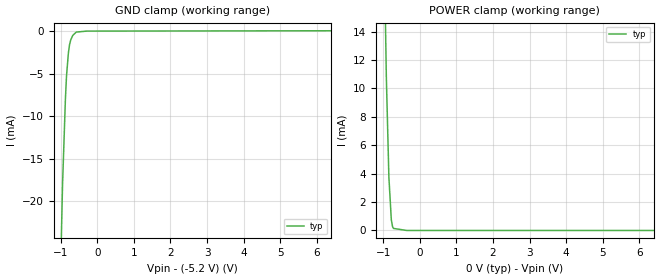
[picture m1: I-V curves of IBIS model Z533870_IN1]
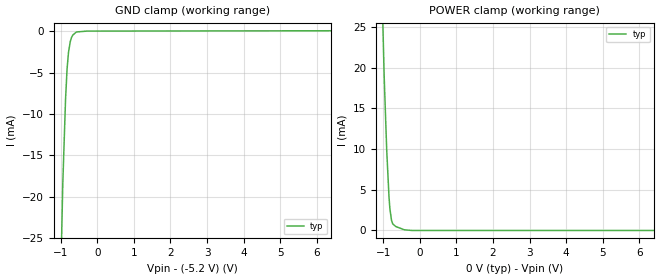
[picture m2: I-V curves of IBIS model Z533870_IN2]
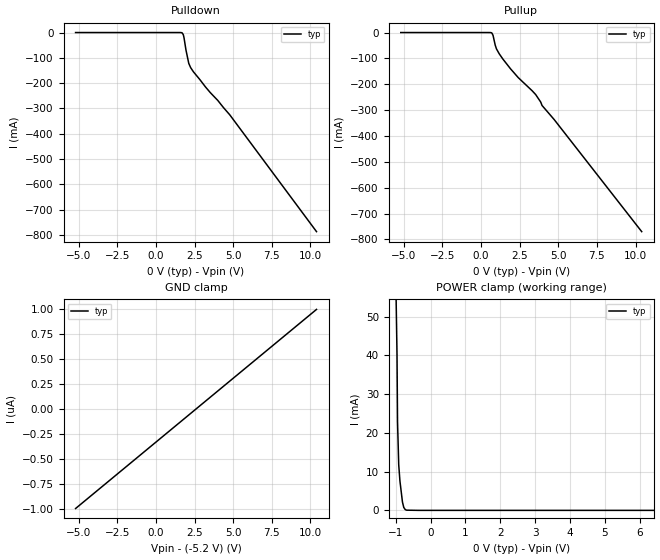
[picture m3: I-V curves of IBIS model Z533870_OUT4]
| YOU ARE ONLY AUTHORIZED TO USE THIS SOFTWARE
| ACCORDING TO LICENSOR'S LICENSE RESTRICTIONS.
[IBIS Ver] 3.1
[File Name] mc100el35d.ibs
[File Rev] 0.2
[Source] Derived from mc100el35d.ibs Measured and created by ICX Technology
[Date] Thursday 10/30/01
[Copyright]
| (C) COPYRIGHT 1993-2000
| MENTOR GRAPHICS CORPORATION
| ICX STANDARD LIBRARY, ICX PROJECT MODELING,
| ICX CUSTOM MODELING, ICX VENDOR MODEL
| ALL RIGHTS RESERVED.
| THE FOLLOWING ARE TRADEMARKS OR SERVICE MARKS OF
| MENTOR GRAPHICS CORPORATION:ICX (R), ICX STANDARD
| LIBRARY(R), ICX PROJECT MODELING(R), ICX CUSTOM
| MODELING(R), qualityIBIS(TM), MODELVIEWER(TM),
| AND MODELEDITOR(TM)
| ALL COPIES OF SOFTWARE, INCLUDING BUT NOT LIMITED TO
| ANY MODIFICATIONS, ENHANCEMENTS OR DERIVATIVE WORKS,
| MUST CONTAIN ALL MENTOR GRAPHICS CORPORATION'S
| NOTICES AND LEGENDS, INCLUDING THOSE EMBEDDED IN
| SOFTWARE AND THOSE AFFIXED TO SOFTWARE MEDIUM
| AND CONTAINER, AS RECEIVED FROM MENTOR GRAPHICS
| CORPORATION.
|  ZAP Model Builder 2.7
[Component] MC100EL35D
[Manufacturer] OnSemiconductor
[Package]
| variable   typ   min   max
R_pkg  .152ohms NA NA
L_pkg  2.714nH NA NA
C_pkg  .364pF NA NA
[Pin] signal_name  model_name  R_pin  L_pin C_pin
1 J Z533870_IN2 .15 2.504n .354p
2 K Z533870_IN2 .15 2.504n .354p
3 CLK Z533870_IN2 .15 2.504n .354p
4 R Z533870_IN1 .154 2.924n .374p
5 VEE POWER .154 2.924n .374p
6 _Q Z533870_OUT4 .15 2.504n .354p
7 Q Z533870_OUT5 .15 2.504n .354p
8 VCC POWER .154 2.924n .374p
| Models and submodels in the file (4): Z533870_IN1 (Input_ECL), Z533870_IN2 (Input_ECL), Z533870_OUT4 (Output_ECL), Z533870_OUT5 (Output_ECL)
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| (C) COPYRIGHT 1993-2000
| MENTOR GRAPHICS CORPORATION
| ICX STANDARD LIBRARY, ICX PROJECT MODELING,
| ICX CUSTOM MODELING, ICX VENDOR MODEL
| ALL RIGHTS RESERVED.
| THE FOLLOWING ARE TRADEMARKS OR SERVICE MARKS OF
| MENTOR GRAPHICS CORPORATION:ICX (R), ICX STANDARD
| LIBRARY(R), ICX PROJECT MODELING(R), ICX CUSTOM
| MODELING(R), qualityIBIS(TM), MODELVIEWER(TM),
| AND MODELEDITOR(TM)
| ALL COPIES OF SOFTWARE, INCLUDING BUT NOT LIMITED TO
| ANY MODIFICATIONS, ENHANCEMENTS OR DERIVATIVE WORKS,
| MUST CONTAIN ALL MENTOR GRAPHICS CORPORATION'S
| NOTICES AND LEGENDS, INCLUDING THOSE EMBEDDED IN
| SOFTWARE AND THOSE AFFIXED TO SOFTWARE MEDIUM
| AND CONTAINER, AS RECEIVED FROM MENTOR GRAPHICS
| CORPORATION.
| Model Application Version 1.89 2/18/99.
[Model] Z533870_IN1
Model_type Input_ECL
Vinl = -1.475V
Vinh = -1.165V
C_comp 4.000pF NA NA
| variable typ   min   max
[Voltage Range] -5.200V NA NA
[GND Clamp Reference] -5.200V NA NA
[POWER Clamp Reference] 0.000V NA NA
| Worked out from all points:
|   GND clamp passes 1 mA (typ) near -0.73 V on its own axis
|   POWER clamp passes 1 mA (typ) near -0.79 V on its own axis
[GND Clamp]
-5.2V     -822.8mA   NA         NA
-953mV    -18.02mA   NA         NA
-875mV    -7.989mA   NA         NA
-845mV    -5.28mA    NA         NA
-793mV    -2.545mA   NA         NA
-763mV    -1.614mA   NA         NA
-727mV    -995.4uA   NA         NA
-674mV    -489.5uA   NA         NA
-578mV    -96.15uA   NA         NA
-289mV    19.51uA    NA         NA
10.4V     83.8uA     NA         NA
[POWER Clamp]
-5.2V     1.929A     NA         NA
-1.123V   51.59mA    NA         NA
-1.055V   32.7mA     NA         NA
-918mV    10.83mA    NA         NA
-848.2mV  3.764mA    NA         NA
-781.2mV  741uA      NA         NA
-747mV    264.5uA    NA         NA
-722.7mV  145.6uA    NA         NA
-361.3mV  0A         NA         NA
10.4V     0A         NA         NA
| (C) COPYRIGHT 1993-2000
| MENTOR GRAPHICS CORPORATION
| ICX STANDARD LIBRARY, ICX PROJECT MODELING,
| ICX CUSTOM MODELING, ICX VENDOR MODEL
| ALL RIGHTS RESERVED.
| THE FOLLOWING ARE TRADEMARKS OR SERVICE MARKS OF
| MENTOR GRAPHICS CORPORATION:ICX (R), ICX STANDARD
| LIBRARY(R), ICX PROJECT MODELING(R), ICX CUSTOM
| MODELING(R), qualityIBIS(TM), MODELVIEWER(TM),
| AND MODELEDITOR(TM)
| ALL COPIES OF SOFTWARE, INCLUDING BUT NOT LIMITED TO
| ANY MODIFICATIONS, ENHANCEMENTS OR DERIVATIVE WORKS,
| MUST CONTAIN ALL MENTOR GRAPHICS CORPORATION'S
| NOTICES AND LEGENDS, INCLUDING THOSE EMBEDDED IN
| SOFTWARE AND THOSE AFFIXED TO SOFTWARE MEDIUM
| AND CONTAINER, AS RECEIVED FROM MENTOR GRAPHICS
| CORPORATION.
| Model Application Version 1.89 2/18/99.
[Model] Z533870_IN2
Model_type Input_ECL
Vinl = -1.475V
Vinh = -1.165V
C_comp 4.000pF NA NA
| variable typ   min   max
[Voltage Range] -5.200V NA NA
[GND Clamp Reference] -5.200V NA NA
[POWER Clamp Reference] 0.000V NA NA
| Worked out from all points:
|   GND clamp passes 1 mA (typ) near -0.72 V on its own axis
|   POWER clamp passes 1 mA (typ) near -0.76 V on its own axis
[GND Clamp]
-5.2V     -877.9mA   NA         NA
-947mV    -18.53mA   NA         NA
-871mV    -8.213mA   NA         NA
-830mV    -4.599mA   NA         NA
-791mV    -2.576mA   NA         NA
-742mV    -1.253mA   NA         NA
-708mV    -756.8uA   NA         NA
-672mV    -466uA     NA         NA
-576mV    -90.85uA   NA         NA
-288mV    18.12uA    NA         NA
10.4V     83.01uA    NA         NA
[POWER Clamp]
-5.2V     1.761A     NA         NA
-1.084V   37.7mA     NA         NA
-976.6mV  18.88mA    NA         NA
-908mV    9.905mA    NA         NA
-844.7mV  4.088mA    NA         NA
-820.3mV  2.657mA    NA         NA
-776mV    1.244mA    NA         NA
-742mV    802.2uA    NA         NA
-661.3mV  488.8uA    NA         NA
-428.2mV  83.66uA    NA         NA
-214.1mV  0A         NA         NA
10.4V     0A         NA         NA
| (C) COPYRIGHT 1993-2000
| MENTOR GRAPHICS CORPORATION
| ICX STANDARD LIBRARY, ICX PROJECT MODELING,
| ICX CUSTOM MODELING, ICX VENDOR MODEL
| ALL RIGHTS RESERVED.
| THE FOLLOWING ARE TRADEMARKS OR SERVICE MARKS OF
| MENTOR GRAPHICS CORPORATION:ICX (R), ICX STANDARD
| LIBRARY(R), ICX PROJECT MODELING(R), ICX CUSTOM
| MODELING(R), qualityIBIS(TM), MODELVIEWER(TM),
| AND MODELEDITOR(TM)
| ALL COPIES OF SOFTWARE, INCLUDING BUT NOT LIMITED TO
| ANY MODIFICATIONS, ENHANCEMENTS OR DERIVATIVE WORKS,
| MUST CONTAIN ALL MENTOR GRAPHICS CORPORATION'S
| NOTICES AND LEGENDS, INCLUDING THOSE EMBEDDED IN
| SOFTWARE AND THOSE AFFIXED TO SOFTWARE MEDIUM
| AND CONTAINER, AS RECEIVED FROM MENTOR GRAPHICS
| CORPORATION.
| Model Application Version 1.89 2/18/99.
[Model] Z533870_OUT4
Model_type Output_ECL
Vref=-2.000V
Rref=50.00ohms
Cref=0.000F
Vmeas=-1.320V
C_comp 8.000pF NA NA
| variable typ   min   max
[Voltage Range] -5.200V NA NA
[POWER Clamp Reference] 0.000V NA NA
[Pullup Reference] 0.000V NA NA
[Pulldown Reference] 0.000V NA NA
[GND Clamp Reference] -5.200V NA NA
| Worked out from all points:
|   POWER clamp passes 1 mA (typ) near -0.77 V on its own axis
[GND Clamp]
-5.2V     -1uA       NA         NA
10.4V     1uA        NA         NA
[Pulldown]
-5.2V     56.97uA    NA         NA
1.703V    -1.446mA   NA         NA
1.777V    -8.817mA   NA         NA
1.822V    -20.69mA   NA         NA
1.948V    -69.23mA   NA         NA
2.129V    -122mA     NA         NA
2.25V     -138.7mA   NA         NA
2.431V    -155.3mA   NA         NA
3.203V    -214.5mA   NA         NA
4.008V    -268.5mA   NA         NA
4.783V    -325.3mA   NA         NA
10.4V     -787.3mA   NA         NA
[Pullup]
-5.2V     157.6uA    NA         NA
703.1mV   -2.059mA   NA         NA
776.4mV   -11.08mA   NA         NA
914.1mV   -48.27mA   NA         NA
996.1mV   -63.09mA   NA         NA
1.411V    -102.4mA   NA         NA
2.409V    -174.4mA   NA         NA
3.535V    -239.8mA   NA         NA
3.864V    -269.1mA   NA         NA
3.946V    -281.9mA   NA         NA
4.726V    -336mA     NA         NA
10.4V     -770.1mA   NA         NA
[POWER Clamp]
-5.2V     1.57A      NA         NA
-1.099V   116.2mA    NA         NA
-962mV    40.28mA    NA         NA
-947.3mV  22.89mA    NA         NA
-913.1mV  11.78mA    NA         NA
-878.8mV  7.619mA    NA         NA
-805.7mV  2.145mA    NA         NA
-768.1mV  755.6uA    NA         NA
-725.3mV  193.4uA    NA         NA
-687.3mV  49uA       NA         NA
10.4V     0A         NA         NA
[Ramp]
| variable typ min max
dV/dt_r 550.8m/794.9p NA NA
dV/dt_f 550.8m/507.1p NA NA
R_load = 50.00Ohms
